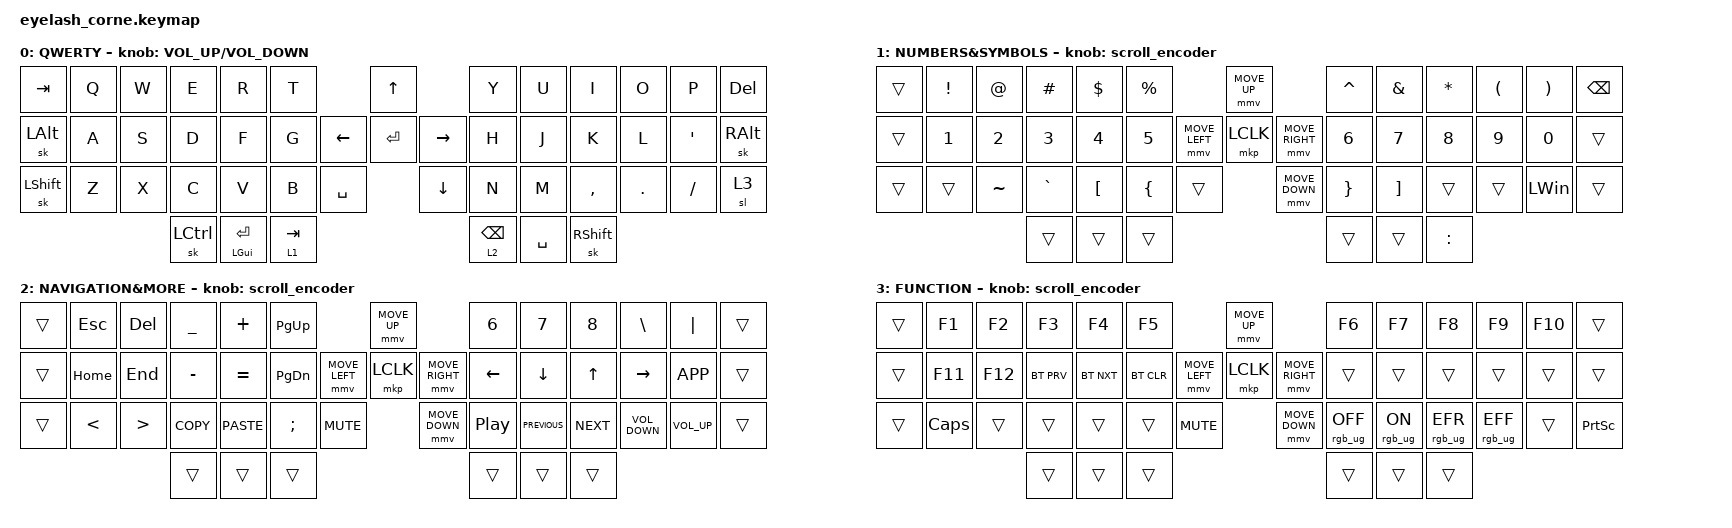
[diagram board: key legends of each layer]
#define ZMK_POINTING_DEFAULT_MOVE_VAL 1200  // 600
#define ZMK_POINTING_DEFAULT_SCRL_VAL 25   // 10

#include <input/processors.dtsi>
#include <zephyr/dt-bindings/input/input-event-codes.h>
#include <behaviors.dtsi>
#include <dt-bindings/zmk/bt.h>
#include <dt-bindings/zmk/keys.h>
#include <dt-bindings/zmk/pointing.h>
#include <dt-bindings/zmk/rgb.h>

&mmv_input_listener { input-processors = <&zip_xy_scaler 2 1>; };

&msc_input_listener { input-processors = <&zip_scroll_scaler 2 1>; };

&msc {
    acceleration-exponent = <1>;      // 0
    time-to-max-speed-ms = <100>;       // 300
    delay-ms = <0>;                   // 0
};

&mmv {
    time-to-max-speed-ms = <500>;
    acceleration-exponent = <1>;
    trigger-period-ms = <16>;
};

/ {
    behaviors {
        td0: td0 {
            compatible = "zmk,behavior-tap-dance";
            display-name = "Shift/Caps Lock Tap Dance";
            #binding-cells = <0>;
            bindings = <&kp LEFT_SHIFT>, <&kp CAPS>;
        };
    };

    rgb_encoder: rgb_encoder {
        compatible = "zmk,behavior-sensor-rotate";
        #sensor-binding-cells = <0>;
        bindings = <&rgb_ug RGB_BRI>, <&rgb_ug RGB_BRD>;
    };

    scroll_encoder: scroll_encoder {
        compatible = "zmk,behavior-sensor-rotate";
        #sensor-binding-cells = <0>;
        bindings = <&msc SCRL_DOWN>, <&msc SCRL_UP>;

        tap-ms = <100>;
    };

    keymap {
        compatible = "zmk,keymap";

        default_layer {
            display-name = "QWERTY";
            bindings = <
&kp TAB         &kp Q  &kp W  &kp E      &kp R               &kp T                             &kp UP                &kp Y            &kp U      &kp I            &kp O    &kp P             &kp DEL
&sk LEFT_ALT    &kp A  &kp S  &kp D      &kp F               &kp G                   &kp LEFT  &kp ENTER  &kp RIGHT  &kp H            &kp J      &kp K            &kp L    &kp SINGLE_QUOTE  &sk RIGHT_ALT
&sk LEFT_SHIFT  &kp Z  &kp X  &kp C      &kp V               &kp B      &kp SPACE              &kp DOWN              &kp N            &kp M      &kp COMMA        &kp DOT  &kp FSLH          &sl 3
                              &sk LCTRL  &mt LEFT_GUI ENTER  &lt 1 TAB                                               &lt 2 BACKSPACE  &kp SPACE  &sk RIGHT_SHIFT
            >;

            sensor-bindings = <&inc_dec_kp C_VOLUME_UP C_VOLUME_DOWN>;
        };

        raise_layer {
            display-name = "NUMBERS&SYMBOLS";
            bindings = <
&trans  &kp EXCL      &kp AT        &kp HASH      &kp DLLR          &kp PRCNT                                 &mmv MOVE_UP                     &kp CARET        &kp AMPS           &kp ASTRK     &kp LPAR      &kp RPAR      &kp BACKSPACE
&trans  &kp NUMBER_1  &kp NUMBER_2  &kp NUMBER_3  &kp NUMBER_4      &kp NUMBER_5              &mmv MOVE_LEFT  &mkp LCLK       &mmv MOVE_RIGHT  &kp NUMBER_6     &kp NUMBER_7       &kp NUMBER_8  &kp NUMBER_9  &kp NUMBER_0  &trans
&trans  &trans        &kp TILDE     &kp GRAVE     &kp LEFT_BRACKET  &kp LEFT_BRACE  &trans                    &mmv MOVE_DOWN                   &kp RIGHT_BRACE  &kp RIGHT_BRACKET  &trans        &trans        &kp LEFT_WIN  &trans
                                    &trans        &trans            &trans                                                                     &trans           &trans             &kp COLON
            >;

            sensor-bindings = <&scroll_encoder>;
        };

        lower_layer {
            display-name = "NAVIGATION&MORE";
            bindings = <
&trans  &kp ESCAPE     &kp DELETE        &kp UNDER   &kp PLUS     &kp PAGE_UP                                  &mmv MOVE_UP                     &kp N6            &kp N7          &kp N8      &kp BACKSLASH      &kp PIPE         &trans
&trans  &kp HOME       &kp END           &kp MINUS   &kp EQUAL    &kp PAGE_DOWN                &mmv MOVE_LEFT  &mkp LCLK       &mmv MOVE_RIGHT  &kp LEFT          &kp DOWN        &kp UP      &kp RIGHT          &kp K_APP        &trans
&trans  &kp LESS_THAN  &kp GREATER_THAN  &kp K_COPY  &kp K_PASTE  &kp SEMICOLON  &kp C_MUTE                    &mmv MOVE_DOWN                   &kp C_PLAY_PAUSE  &kp C_PREVIOUS  &kp C_NEXT  &kp C_VOLUME_DOWN  &kp C_VOLUME_UP  &trans
                                         &trans      &trans       &trans                                                                        &trans            &trans          &trans
            >;

            sensor-bindings = <&scroll_encoder>;
        };

        layer_3 {
            display-name = "FUNCTION";
            bindings = <
&trans  &kp F1    &kp F2   &kp F3      &kp F4      &kp F5                                    &mmv MOVE_UP                     &kp F6           &kp F7          &kp F8           &kp F9           &kp F10  &trans
&trans  &kp F11   &kp F12  &bt BT_PRV  &bt BT_NXT  &bt BT_CLR                &mmv MOVE_LEFT  &mkp LCLK       &mmv MOVE_RIGHT  &trans           &trans          &trans           &trans           &trans   &trans
&trans  &kp CAPS  &trans   &trans      &trans      &trans      &kp C_MUTE                    &mmv MOVE_DOWN                   &rgb_ug RGB_OFF  &rgb_ug RGB_ON  &rgb_ug RGB_EFR  &rgb_ug RGB_EFF  &trans   &kp PRINTSCREEN
                           &trans      &trans      &trans                                                                     &trans           &trans          &trans
            >;

            sensor-bindings = <&scroll_encoder>;
        };
    };
};
